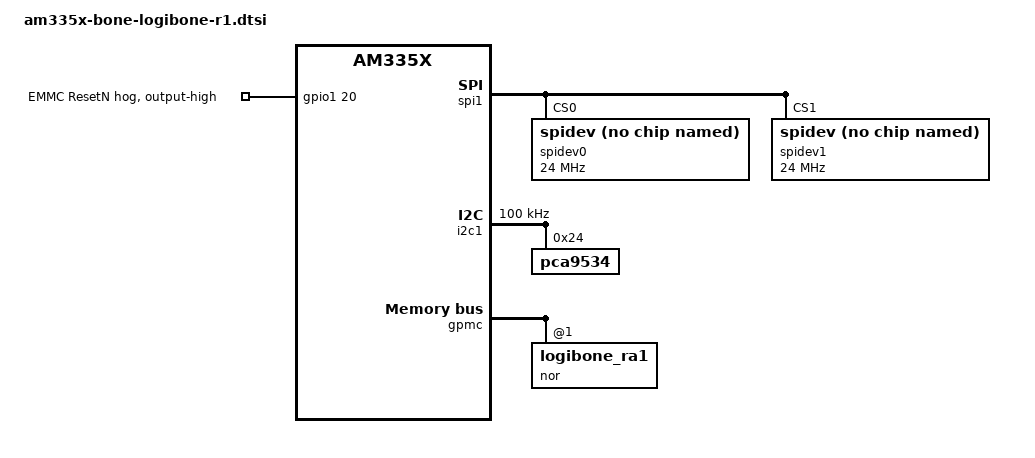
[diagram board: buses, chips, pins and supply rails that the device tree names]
/*
 * Copyright (C) 2012 Texas Instruments Incorporated - http://www.ti.com/
 *
 * This program is free software; you can redistribute it and/or modify
 * it under the terms of the GNU General Public License version 2 as
 * published by the Free Software Foundation.
*/


&gpio1 {
	emmc_rst {
		gpio-hog;
		gpios = <20 0>;
		output-high;
		line-name = "EMMC ResetN";
	};
};

&spi1 {
	status = "okay";
	pinctrl-names = "default";
	pinctrl-0 = <&spi1_pins>;

	spidev0: spidev@0 {
		compatible = "spidev";
		reg = <0>;
		spi-max-frequency = <24000000>;
		spi-cpha;
	};

	spidev1: spidev@1 {
		compatible = "spidev";
		reg = <1>;
		spi-max-frequency = <24000000>;
	};
};


&i2c1 {
        pinctrl-names = "default";
        pinctrl-0 = <&i2c1_pins>;

        status = "okay";
        clock-frequency = <100000>;

	pca9534@24 {
		compatible = "pca9534";
		reg = <0x24>;
        };
};


&gpmc{
depth = <1>;	/* only create devices on depth 1 */

/* stupid warnings */
#address-cells = <1>;
#size-cells = <1>;

/*__overlay__ { */

	status = "okay";

	#address-cells = <2>;
	#size-cells = <1>;

	pinctrl-names = "default";
	pinctrl-0 = <&gpmc_pins>;

	/* chip select ranges */
	ranges = <1 0 0x01000000 0x1000000>;

	nor {
		compatible = "logibone_ra1";
		status = "okay";
		pinctrl-names = "default";

		/*reset = <&rstctl 0 0>;*/  /* uncomment for use under Kernel 3.8.13 */
		/*reset-names = "eMMC_RSTn-LOGIBONE";*/ /* uncomment for use under Kernel 3.8.13 */

		reg = <1 0 0x01000000>;			/*CSn1*/

		/* CONFIG1 */
		bank-width = <2>;			/* GPMC_CONFIG1_DEVICESIZE(1) */
		/*gpmc,burst-write;*/
		/*gpmc,burst-read;*/
		/*gpmc,burst-wrap;*/
		gpmc,sync-read;				/* GPMC_CONFIG1_READTYPE_ASYNC */
		gpmc,sync-write;			/* GPMC_CONFIG1_WRITETYPE_ASYNC */
		gpmc,clk-activation-ns = <0>;		/* GPMC_CONFIG1_CLKACTIVATIONTIME(2) */
		gpmc,burst-length = <16>;		/* GPMC_CONFIG1_PAGE_LEN(2) */
		gpmc,mux-add-data = <2>;		/* GPMC_CONFIG1_MUXTYPE(2) */

		/* CONFIG2 */
		gpmc,sync-clk-ps = <10000>; //<20000>;
		gpmc,cs-on-ns = <0>;
		gpmc,cs-rd-off-ns = <120>; //<100>;
		gpmc,cs-wr-off-ns = <80>; //<40>;

		/* CONFIG3 */
		gpmc,adv-on-ns = <30>; //<0>;
		gpmc,adv-rd-off-ns = <40>; //<20>;
		gpmc,adv-wr-off-ns = <40>; //<20>;

		/* CONFIG4 */
		gpmc,oe-on-ns = <60>; //<20>;
		gpmc,oe-off-ns = <110>; //<100>;
		gpmc,we-on-ns = <50>; //<20>;
		gpmc,we-off-ns = <70>; //<40>;

		/* CONFIG 5 */
		gpmc,page-burst-access-ns = <10>;//<20>;
		gpmc,access-ns = <100>; //<80>;
		gpmc,rd-cycle-ns = <120>;
		gpmc,wr-cycle-ns = <80>;

		/* CONFIG 6 */
		gpmc,wr-access-ns = <60>; //<40>;
		gpmc,wr-data-mux-bus-ns = <40>;//<20>;
		/*gpmc,bus-turnaround-ns = <40>;*/	/* CONFIG6:3:0 = 4 */
		/*gpmc,cycle2cycle-samecsen;*/		/* CONFIG6:7 = 1 */
		/*gpmc,cycle2cycle-delay-ns = <40>;*/	/* CONFIG6:11:8 = 4 */

		/* not using dma engine yet, but we can get the channel number here */
		dmas = <&edma 20>;
		dma-names = "logibone";

	};
};

